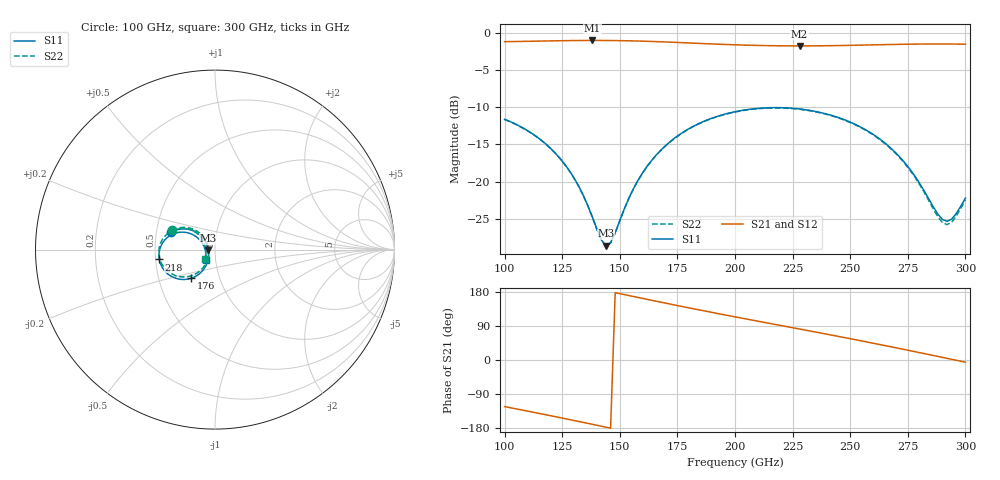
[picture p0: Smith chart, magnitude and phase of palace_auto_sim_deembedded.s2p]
! Created with skrf 1.11.0 (http://scikit-rf.org).
# GHz S DB R 50.0
!freq dBS11 angS11 dBS21 angS21 dBS12 angS12 dBS22 angS22
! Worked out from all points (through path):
!   101 points, 100 GHz to 300 GHz, reference 50 ohm
!   highest |S21| = -0.97 dB at 138 GHz (marker M1); lowest = -1.7 dB at 228 GHz (marker M2)
!   group delay of S21, straight-line fit = 3.34 ps
!   lowest |S11| = -28.7 dB at 144 GHz (marker M3), VSWR 1.08, Z = 46.5 - j0.286 ohm
!   |S11| at or under -10 dB: start of sweep to end of sweep
!   |S22| runs from -28.7 to -10.1 dB; largest |S21 - S12| = 1e-13
!   S11 on the Smith chart (normalised r, x): 100 GHz: 0.60, +0.12; 176 GHz: 0.73, -0.24; 218 GHz: 0.52, -0.06; 300 GHz: 0.90, -0.10
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100  -11.61 158.3  -1.13 -123.0  -1.13 -123.0  -11.64 155.8
120  -15.54 140.0  -1.03 -147.1  -1.03 -147.1  -15.57 137.0
128  -18.49 135.8  -1.00 -157.0  -1.00 -157.0  -18.52 132.6
134  -21.76 137.4  -0.98 -164.5  -0.98 -164.5  -21.80 134.0
138  -24.71 145.1  -0.97 -169.6  -0.97 -169.6  -24.76 141.6
142  -27.87 166.6  -0.97 -174.7  -0.97 -174.7  -27.93 163.1
144  -28.66 -175.2  -0.98 -177.2  -0.98 -177.2  -28.72 -178.7
146  -28.25 -156.1  -0.98 -179.8  -0.98 -179.8  -28.30 -159.6
158  -19.78 -119.4  -1.05 164.9  -1.05 164.9  -19.81 -123.3
168  -15.71 -123.2  -1.15 152.4  -1.15 152.4  -15.74 -127.4
176  -13.65 -129.7  -1.26 142.5  -1.26 142.5  -13.69 -134.0
188  -11.69 -140.9  -1.42 128.0  -1.42 128.0  -11.72 -145.6
200  -10.59 -152.6  -1.56 113.9  -1.56 113.9  -10.62 -157.6
218  -10.03 -170.0  -1.69 93.2  -1.69 93.2  -10.07 -175.6
228  -10.21 -179.6  -1.71 81.8  -1.71 81.8  -10.26 174.6
234  -10.49 174.7  -1.70 74.9  -1.70 74.9  -10.54 168.7
252  -12.26 158.4  -1.62 53.8  -1.62 53.8  -12.32 151.8
268  -15.60 147.1  -1.52 34.5  -1.52 34.5  -15.68 139.9
278  -19.24 146.4  -1.47 22.1  -1.47 22.1  -19.37 138.6
290  -25.10 178.9  -1.45 7.0  -1.45 7.0  -25.52 171.3
294  -25.08 -156.8  -1.46 1.9  -1.46 1.9  -25.49 -163.3
300  -22.23 -132.6  -1.48 -5.7  -1.48 -5.7  -22.46 -138.6
